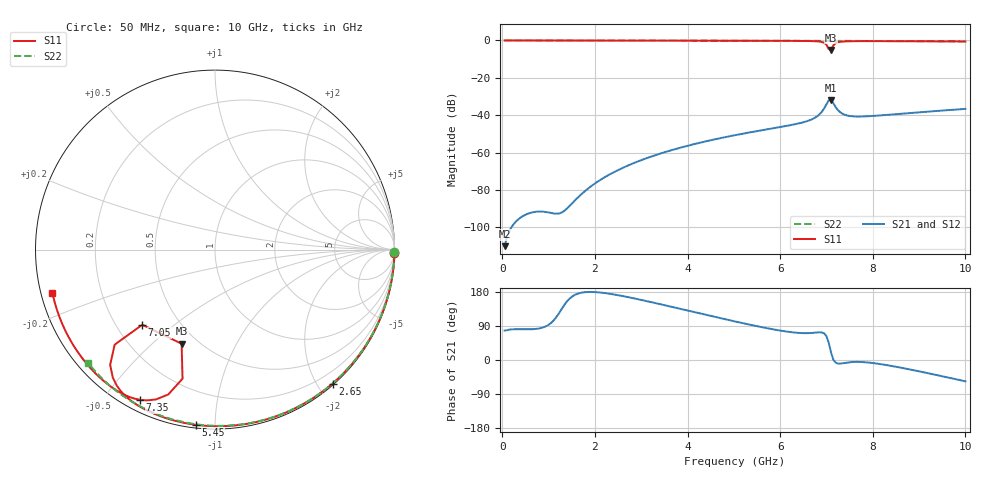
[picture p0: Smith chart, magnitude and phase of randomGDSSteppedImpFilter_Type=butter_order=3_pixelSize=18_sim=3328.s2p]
! freq	dB(S11)	phase(S11)	dB(S12)	phase(S12)
!  dB(S21)	phase(S21)	dB(S22)	phase(S22)
!S-par simulation data
#  GHz  S  DB  R 50
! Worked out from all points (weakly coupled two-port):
!   200 points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, 50 MHz to 10 GHz, reference 50 ohm
!   highest |S21| = -31.77 dB at 7.1 GHz (marker M1); lowest = -110.1 dB at 50 MHz (marker M2)
!   lowest |S11| = -5.1 dB at 7.1 GHz (marker M3), VSWR 3.51, Z = 20.5 - j31.2 ohm
!   |S11| at or under -10 dB: nowhere
!   |S22| runs from -0.5 to 0.0 dB; largest |S21 - S12| = 0
!   S11 on the Smith chart (normalised r, x): 50 MHz: open; 2.65 GHz: 0.02, -2.21; 5.45 GHz: 0.02, -0.90; 7.05 GHz: 0.31, -0.39; 7.35 GHz: 0.05, -0.62; 10 GHz: 0.03, -0.13
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0.05  -0.00 -0.9  -110.06 77.7  -110.06 77.7  -0.00 -0.8
0.85  -0.02 -16.0  -91.56 84.8  -91.56 84.8  -0.02 -13.5
1.75  -0.04 -32.6  -81.34 178.5  -81.34 178.5  -0.04 -27.5
1.8  -0.04 -33.5  -80.29 179.2  -80.29 179.2  -0.04 -28.3
2.2  -0.05 -40.7  -73.35 176.9  -73.35 176.9  -0.04 -34.5
2.65  -0.06 -48.7  -67.62 167.5  -67.62 167.5  -0.05 -41.3
3.4  -0.08 -61.9  -60.61 147.6  -60.61 147.6  -0.07 -52.4
5.05  -0.14 -89.7  -50.56 101.1  -50.56 101.1  -0.12 -75.8
5.45  -0.16 -96.3  -48.72 90.5  -48.72 90.5  -0.13 -81.2
6.35  -0.23 -112.0  -44.67 72.0  -44.67 72.0  -0.17 -93.1
6.7  -0.35 -120.1  -42.03 71.5  -42.03 71.5  -0.19 -97.6
6.85  -0.58 -125.8  -39.52 73.1  -39.52 73.1  -0.20 -99.5
6.95  -1.23 -132.3  -36.36 70.3  -36.36 70.3  -0.21 -100.8
7  -2.27 -136.6  -34.11 62.7  -34.11 62.7  -0.21 -101.4
7.05  -4.69 -134.1  -31.97 45.0  -31.97 45.0  -0.21 -102.0
7.1  -5.09 -109.5  -31.77 19.0  -31.77 19.0  -0.21 -102.6
7.15  -2.60 -104.1  -33.65 0.5  -33.65 0.5  -0.21 -103.3
7.2  -1.43 -107.9  -35.72 -7.2  -35.72 -7.2  -0.22 -103.9
7.35  -0.58 -116.6  -39.26 -8.6  -39.26 -8.6  -0.23 -105.8
7.65  -0.38 -125.0  -40.70 -4.9  -40.70 -4.9  -0.25 -109.6
8.35  -0.38 -137.8  -39.75 -14.5  -39.75 -14.5  -0.30 -118.2
10  -0.56 -165.0  -36.62 -56.3  -36.62 -56.3  -0.47 -138.1
